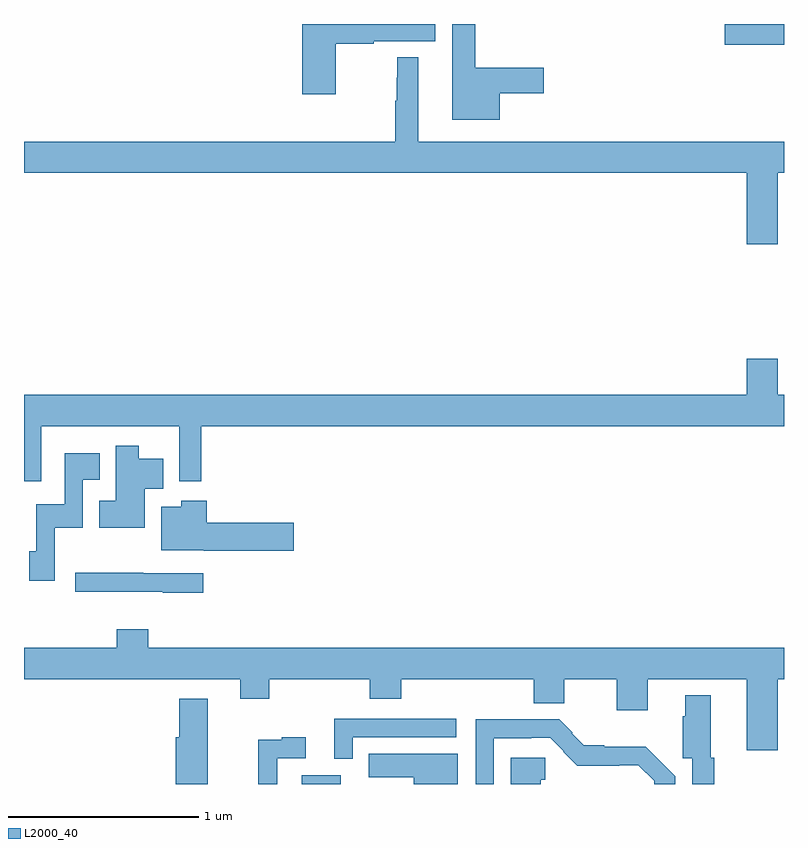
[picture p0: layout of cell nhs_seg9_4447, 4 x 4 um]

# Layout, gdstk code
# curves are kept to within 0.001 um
import gdstk
lib = gdstk.Library(unit=1e-6, precision=1e-09)
def R(c, l, rs):  # rectangles x0, y0, x1, y1
    for r in rs: c.add(gdstk.rectangle(r[:2], r[2:], *l))
def P(c, l, *ps):  # polygons
    for p in ps: c.add(gdstk.Polygon(p, *l))
L2000_40 = (2000, 40)

nhs_seg9_4447 = lib.new_cell('nhs_seg9_4447')
R(nhs_seg9_4447, L2000_40, [(366.461,1230.5,366.667,1230.547), (368.688,1234.391,369,1234.5)])
P(nhs_seg9_4447, L2000_40, [(366.642,1234.396),(366.842,1234.396),(366.842,1234.409),(367.165,1234.409),(367.165,1234.5),(366.464,1234.5),(366.464,1234.131),(366.642,1234.131)],
  [(367.504,1234.136),(367.735,1234.136),(367.735,1234.271),(367.375,1234.271),(367.375,1234.5),(367.253,1234.5),(367.253,1233.995),(367.504,1233.995)],
  [(368.968,1233.716),(369,1233.716),(369,1233.88),(367.075,1233.88),(367.075,1234.324),(366.964,1234.324),(366.964,1234.217),(366.961,1234.217),(366.961,1234.097),(366.954,1234.097),(366.954,1233.88),(365,1233.88),(365,1233.716),(368.804,1233.716),(368.804,1233.342),(368.968,1233.342)],
  [(365.091,1232.384),(365.817,1232.384),(365.817,1232.094),(365.933,1232.094),(365.933,1232.384),(369,1232.384),(369,1232.548),(368.968,1232.548),(368.968,1232.737),(368.804,1232.737),(368.804,1232.548),(365,1232.548),(365,1232.094),(365.091,1232.094)],
  [(365.635,1232.054),(365.732,1232.054),(365.732,1232.212),(365.605,1232.212),(365.605,1232.281),(365.483,1232.281),(365.483,1231.99),(365.395,1231.99),(365.395,1231.85),(365.635,1231.85)],
  [(365.163,1231.85),(365.31,1231.85),(365.31,1232.102),(365.398,1232.102),(365.398,1232.242),(365.214,1232.242),(365.214,1231.972),(365.064,1231.972),(365.064,1231.725),(365.027,1231.725),(365.027,1231.569),(365.163,1231.569)],
  [(366.421,1231.874),(365.963,1231.874),(365.963,1231.99),(365.828,1231.99),(365.828,1231.96),(365.723,1231.96),(365.723,1231.73),(365.946,1231.73),(365.946,1231.727),(366.421,1231.727)],
  [(365.944,1231.608),(365.627,1231.608),(365.627,1231.611),(365.271,1231.611),(365.271,1231.511),(365.731,1231.511),(365.731,1231.507),(365.944,1231.507)],
  [(368.968,1231.052),(369,1231.052),(369,1231.216),(365.654,1231.216),(365.654,1231.315),(365.489,1231.315),(365.489,1231.216),(365,1231.216),(365,1231.052),(366.137,1231.052),(366.137,1230.95),(366.29,1230.95),(366.29,1231.052),(366.821,1231.052),(366.821,1230.95),(366.986,1230.95),(366.986,1231.052),(367.682,1231.052),(367.682,1230.926),(367.843,1230.926),(367.843,1231.052),(368.12,1231.052),(368.12,1230.888),(368.284,1230.888),(368.284,1231.052),(368.804,1231.052),(368.804,1230.678),(368.968,1230.678)],
  [(368.633,1230.639),(368.614,1230.639),(368.614,1230.967),(368.48,1230.967),(368.48,1230.857),(368.468,1230.857),(368.468,1230.636),(368.517,1230.636),(368.517,1230.5),(368.633,1230.5)],
  [(365.968,1230.949),(365.816,1230.949),(365.816,1230.747),(365.798,1230.747),(365.798,1230.5),(365.968,1230.5)],
  [(366.729,1230.747),(367.276,1230.747),(367.276,1230.843),(366.632,1230.843),(366.632,1230.632),(366.729,1230.632)],
  [(367.473,1230.74),(367.67,1230.74),(367.67,1230.744),(367.77,1230.744),(367.842,1230.672),(367.839,1230.669),(367.913,1230.596),(368.132,1230.596),(368.132,1230.6),(368.232,1230.6),(368.316,1230.516),(368.316,1230.5),(368.428,1230.5),(368.428,1230.54),(368.273,1230.697),(368.053,1230.697),(368.053,1230.705),(367.945,1230.705),(367.883,1230.767),(367.887,1230.771),(367.817,1230.841),(367.377,1230.841),(367.377,1230.5),(367.473,1230.5)],
  [(366.333,1230.636),(366.484,1230.636),(366.484,1230.745),(366.356,1230.745),(366.356,1230.734),(366.232,1230.734),(366.232,1230.5),(366.333,1230.5)],
  [(367.282,1230.658),(366.814,1230.658),(366.814,1230.536),(367.052,1230.536),(367.052,1230.5),(367.282,1230.5)],
  [(367.72,1230.522),(367.743,1230.522),(367.743,1230.639),(367.562,1230.639),(367.562,1230.5),(367.72,1230.5)])

lib.write_gds('nhs_seg9_4447.gds')
